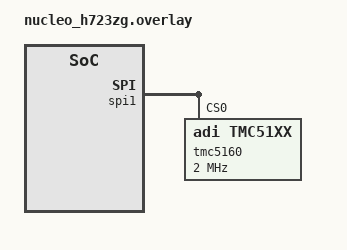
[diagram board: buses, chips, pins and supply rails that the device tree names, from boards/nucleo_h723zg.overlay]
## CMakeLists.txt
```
cmake_minimum_required(VERSION 3.28.0)

find_package(Zephyr REQUIRED HINTS $ENV{ZEPHYR_BASE})
project(nucleo_h723zg_stepper_tmc5160)

target_sources(app PRIVATE src/main.c)
```

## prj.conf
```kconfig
CONFIG_GPIO=y
CONFIG_SPI=y

# Zephyr stepper subsystem + the built-in TMC5160/5130/5161 (adi,tmc51xx) driver.
CONFIG_STEPPER=y
CONFIG_STEPPER_SHELL=y

CONFIG_SERIAL=y
CONFIG_CONSOLE=y
CONFIG_UART_CONSOLE=y
CONFIG_SHELL=y
CONFIG_PRINTK=y
CONFIG_STDOUT_CONSOLE=y

CONFIG_LOG=y

CONFIG_MAIN_STACK_SIZE=2048
```

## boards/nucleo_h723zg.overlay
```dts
/*
 * TMC5160A stepper driver node on the default Arduino-header SPI (spi1).
 *
 * Arduino header pin usage on this project:
 *   D13 (PA5)  - SPI1 SCK   -> TMC5160 SCK
 *   D12 (PA6)  - SPI1 MISO  -> TMC5160 SDO
 *   D11 (PB5)  - SPI1 MOSI  -> TMC5160 SDI
 *   D10 (PD14) - SPI1 CS    -> TMC5160 CSN   (cs-gpios already set on &spi1 by the board default DTS)
 *   D9  (PD15) - GPIO       -> TMC5160 ENN (driver hardware enable, active high = enabled)
 *
 * Wiring not done yet at time of writing -- these are the pins to use. CLK
 * (TMC5160 clock input) is left on its internal ~12MHz oscillator; tie it to
 * GND, do not leave it floating. VREF/current-sense wiring, motor coil
 * wiring, and the motor supply (VM) are outside the scope of this overlay --
 * see README.md before applying power.
 */

&spi1 {
	tmc5160: tmc5160@0 {
		compatible = "adi,tmc51xx";
		reg = <0>;
		spi-max-frequency = <2000000>;
		clock-frequency = <12000000>;

		tmc5160_stepper_driver: stepper-driver {
			compatible = "adi,tmc51xx-stepper-driver";
			micro-step-res = <16>;
			en-gpios = <&gpiod 15 GPIO_ACTIVE_HIGH>;
		};

		tmc5160_motion_controller: motion-controller {
			compatible = "adi,tmc51xx-stepper-ctrl";

			/* Conservative bring-up ramp; retune once a motor is wired up. */
			vstart = <10>;
			vstop = <10>;
			a1 = <5000>;
			v1 = <50000>;
			amax = <5000>;
			vmax = <200000>;
			dmax = <5000>;
			d1 = <5000>;
			tzerowait = <100>;
			tpowerdown = <10>;

			/* Raw 0-31 current scale (31 = 32/32). Start low until sense
			 * resistors / motor current rating are confirmed.
			 */
			ihold = <8>;
			irun = <16>;
			iholddelay = <5>;
		};
	};
};

/ {
	aliases {
		stepper-driver = &tmc5160_stepper_driver;
		stepper-ctrl = &tmc5160_motion_controller;
	};
};
```

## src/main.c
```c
#include <zephyr/device.h>
#include <zephyr/devicetree.h>
#include <zephyr/drivers/stepper/stepper.h>
#include <zephyr/drivers/stepper/stepper_ctrl.h>
#include <zephyr/kernel.h>

#include <zephyr/logging/log.h>
LOG_MODULE_REGISTER(stepper_tmc5160, LOG_LEVEL_INF);

static const struct device *const stepper_driver = DEVICE_DT_GET(DT_ALIAS(stepper_driver));
static const struct device *const stepper_ctrl = DEVICE_DT_GET(DT_ALIAS(stepper_ctrl));

int main(void)
{
	if (!device_is_ready(stepper_driver)) {
		LOG_ERR("Stepper driver %s not ready", stepper_driver->name);
		return 0;
	}

	if (!device_is_ready(stepper_ctrl)) {
		LOG_ERR("Stepper controller %s not ready", stepper_ctrl->name);
		return 0;
	}

	LOG_INF("TMC5160A up over SPI1. Drive it from the shell, e.g.:");
	LOG_INF("  stepper enable %s", stepper_driver->name);
	LOG_INF("  stepper_ctrl move_by %s 3200", stepper_ctrl->name);
	LOG_INF("  stepper_ctrl move_to %s 0", stepper_ctrl->name);
	LOG_INF("  stepper_ctrl run %s 1", stepper_ctrl->name);
	LOG_INF("  stepper_ctrl stop %s", stepper_ctrl->name);
	LOG_INF("  stepper disable %s", stepper_driver->name);

	return 0;
}
```
